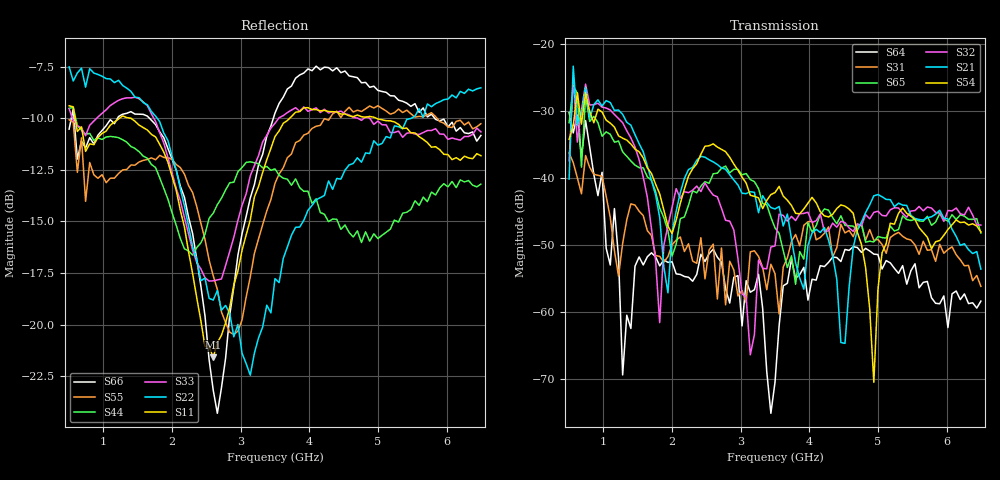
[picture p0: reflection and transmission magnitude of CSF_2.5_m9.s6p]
!Keysight Technologies,M9804A,MY58100912,A.14.10.03
!Date: Thursday, April 27, 2023 10:28:33
!Correction: S11(C  6-Port  )
!S12(C  6-Port  )
!S13(C  6-Port  )
!S14(C  6-Port  )
!S15(C  6-Port  )
!S16(C  6-Port  )
!S21(C  6-Port  )
!S22(C  6-Port  )
!S23(C  6-Port  )
!S24(C  6-Port  )
!S25(C  6-Port  )
!S26(C  6-Port  )
!S31(C  6-Port  )
!S32(C  6-Port  )
!S33(C  6-Port  )
!S34(C  6-Port  )
!S35(C  6-Port  )
!S36(C  6-Port  )
!S41(C  6-Port  )
!S42(C  6-Port  )
!S43(C  6-Port  )
!S44(C  6-Port  )
!S45(C  6-Port  )
!S46(C  6-Port  )
!S51(C  6-Port  )
!S52(C  6-Port  )
!S53(C  6-Port  )
!S54(C  6-Port  )
!S55(C  6-Port  )
!S56(C  6-Port  )
!S61(C  6-Port  )
!S62(C  6-Port  )
!S63(C  6-Port  )
!S64(C  6-Port  )
!S65(C  6-Port  )
!S66(C  6-Port  )
!S6P File: Measurement: :
# Hz S  RI  R 50
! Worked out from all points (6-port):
!   101 points, 500 MHz to 6.5 GHz, reference 50 ohm
!   strongest paths, dB at 500 MHz, 2 GHz, 3.5 GHz, 5 GHz, 6.5 GHz:
!     S54: -34.2, -48.3, -42.2, -56.6, -48.0
!     S21: -40.1, -48.1, -44.6, -42.5, -53.6
!     S32: -37.4, -44.4, -50.1, -45.0, -47.0
!     S65: -31.7, -51.6, -47.4, -48.7, -48.2
!     S31: -36.3, -50.0, -54.3, -49.2, -56.2
!     S64: -30.2, -52.5, -70.5, -51.4, -58.4
!   lowest |S11| = -21.6 dB at 2.6 GHz (marker M1), VSWR 1.18, Z = 42.6 + j2.02 ohm
!   |S11| at or under -10 dB: 587.8 MHz to 1.236 GHz (647.9 MHz wide, 71.1 % of centre); 1.397 GHz to 3.715 GHz (2.318 GHz wide, 90.7 % of centre); 4.974 GHz to end of sweep
